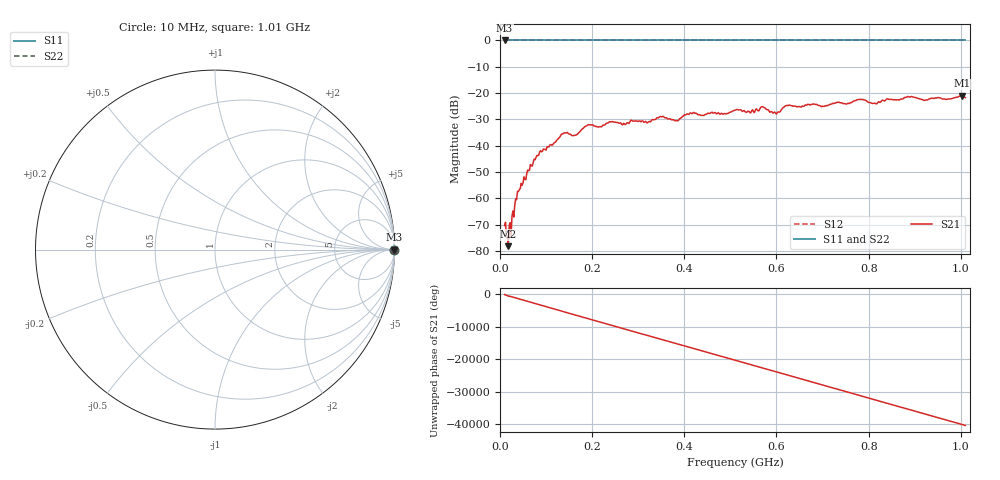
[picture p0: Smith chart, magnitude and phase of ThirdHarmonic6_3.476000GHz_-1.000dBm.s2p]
! 8/17/2025 11:17:36 AM
! C:\ANRITSUVNA\TEMP\TEMP.S2P
! CHANNEL.1
! TR.MEASUREMENT
! RAW.DATA
! RF.CORRECTION.OFF
! AVERAGING.OFF
! IF.BANDWIDTH: 5KHZ
! SWEEPTYPE:  FREQ.SWEEP(Linear)
! Reference Plane Port Info
! PORT:  PORT1  PORT2
! DISTANCE:  0  m  0  m
! TIME:  0  s  0  s
! PHASE.OFFSET:  0  deg.  0  deg.
! LOSS:  0  dB  0  dB
! REF.LOSS:  0  dB  0  dB
! REF.FREQ:  0  Hz  0  Hz
! Power Info
! POWER:  -20  dBm  -20  dBm
! EFF.POWER:  -20  dBm  -20  dBm
! SOURCE.ATTEN:  0  dB  0  dB
! TEST.ATTEN:  0  dB  0  dB
# GHZ S RI R 50.0
! FREQ.GHZ  S11RE  S11IM  S21RE  S21IM  S12RE  S12IM  S22RE  S22IM
!; PortSelection: Port_12
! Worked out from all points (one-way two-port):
!   501 points, 10 MHz to 1.01 GHz, reference 50 ohm
!   highest |S21| = -21.02 dB at 1.002 GHz (marker M1); lowest = -78.2 dB at 18 MHz (marker M2)
!   lowest |S11| = 0.0 dB at 10 MHz (marker M3)
!   |S11| at or under -10 dB: nowhere
!   |S22| runs from 0.0 to 0.0 dB; largest |S21 - S12| = 1.1
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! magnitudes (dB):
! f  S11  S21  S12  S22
! 10 MHz  0.0  -70.4  0.0  0.0
! 18 MHz  0.0  -78.2  0.0  0.0
! 20 MHz  0.0  -70.4  0.0  0.0
! 36 MHz  0.0  -60.6  0.0  0.0
! 42 MHz  0.0  -56.8  0.0  0.0
! 78 MHz  0.0  -44.6  0.0  0.0
! 136 MHz  0.0  -35.5  0.0  0.0
! 162 MHz  0.0  -36.1  0.0  0.0
! 178 MHz  0.0  -33.7  0.0  0.0
! 194 MHz  0.0  -32.0  0.0  0.0
! 322 MHz  0.0  -31.0  0.0  0.0
! 344 MHz  0.0  -29.4  0.0  0.0
! 384 MHz  0.0  -30.5  0.0  0.0
! 416 MHz  0.0  -27.8  0.0  0.0
! 510 MHz  0.0  -26.5  0.0  0.0
! 570 MHz  0.0  -25.2  0.0  0.0
! 596 MHz  0.0  -27.2  0.0  0.0
! 624 MHz  0.0  -24.7  0.0  0.0
! 678 MHz  0.0  -24.3  0.0  0.0
! 844 MHz  0.0  -22.4  0.0  0.0
! 1.002 GHz  0.0  -21.0  0.0  0.0
! 1.01 GHz  0.0  -21.7  0.0  0.0
